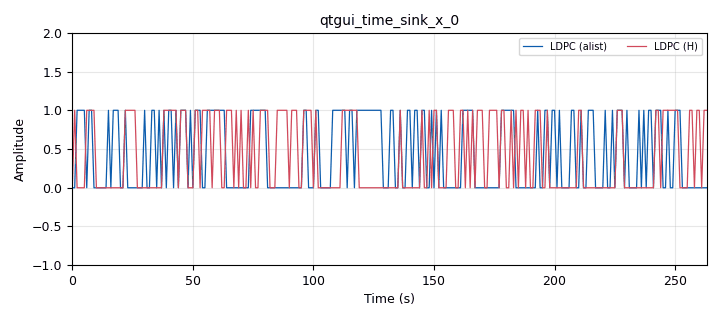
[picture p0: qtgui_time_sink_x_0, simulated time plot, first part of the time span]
options:
  parameters:
    category: Custom
    generate_options: qt_gui
    id: fecapi_async_ldpc_encoders
    output_language: python
  states: {}

blocks:
- name: H
  id: variable_ldpc_H_matrix_def
  parameters:
    filename: gr.prefix() + "/share/gnuradio/fec/ldpc/" + "n_0100_k_0042_gap_02.alist"
    gap: '2'
  states: {}
- name: MTU
  id: variable
  parameters:
    value: '1512'
  states: {}
- name: alist_file
  id: variable
  parameters:
    value: gr.prefix() + "/share/gnuradio/fec/ldpc/" + "n_0100_k_0042_gap_02.alist"
  states: {state: disabled}
- name: ldpc_enc
  id: variable_ldpc_encoder_def
  parameters:
    file: gr.prefix() + "/share/gnuradio/fec/ldpc/" + "n_0100_k_0042_gap_02.alist"
    ndim: '0'
  states: {}
- name: ldpc_enc_H
  id: variable_ldpc_encoder_H_def
  parameters:
    H: H
    ndim: '0'
  states: {}
- name: samp_rate
  id: variable
  parameters:
    value: '20000'
  states: {}
- name: analog_random_source_x_0
  id: analog_random_source_x
  parameters:
    max: '256'
    min: '0'
    num_samps: '1000'
    repeat: 'True'
    type: byte
  states: {state: disabled}
- name: blocks_char_to_float_0_1
  id: blocks_char_to_float
  parameters:
    scale: '1'
  states: {}
- name: blocks_char_to_float_0_1_0
  id: blocks_char_to_float
  parameters:
    scale: '1'
  states: {}
- name: blocks_pdu_to_tagged_stream_0
  id: blocks_pdu_to_tagged_stream
  parameters:
    tag: pkt_len
    type: byte
  states: {}
- name: blocks_pdu_to_tagged_stream_0_0
  id: blocks_pdu_to_tagged_stream
  parameters:
    tag: pkt_len
    type: byte
  states: {}
- name: blocks_repack_bits_bb_0
  id: blocks_repack_bits_bb
  parameters:
    align_output: 'True'
    endianness: gr.GR_LSB_FIRST
    k: '8'
    l: '1'
    len_tag_key: pkt_len
  states: {}
- name: blocks_repack_bits_bb_0_0
  id: blocks_repack_bits_bb
  parameters:
    align_output: 'True'
    endianness: gr.GR_LSB_FIRST
    k: '8'
    l: '1'
    len_tag_key: pkt_len
  states: {}
- name: blocks_stream_to_tagged_stream_0_0
  id: blocks_stream_to_tagged_stream
  parameters:
    len_tag_key: pkt_len
    packet_len: frame_size
    type: byte
  states: {}
- name: blocks_tagged_stream_to_pdu_0
  id: blocks_tagged_stream_to_pdu
  parameters:
    tag: pkt_len
    type: byte
  states: {}
- name: blocks_throttle_0
  id: blocks_throttle
  parameters:
    samples_per_second: samp_rate
    type: byte
  states: {}
- name: blocks_vector_source_x_0_1_0
  id: blocks_vector_source_x
  parameters:
    repeat: 'True'
    type: byte
    vector: (frame_size//15)*[0, 0, 1, 0, 3, 0, 7, 0, 15, 0, 31, 0, 63, 0, 127]
  states: {}
- name: fec_async_encoder_0
  id: fec_async_encoder
  parameters:
    encoder: ldpc_enc
    mtu: MTU
    packed: 'True'
  states: {}
- name: fec_async_encoder_0_0
  id: fec_async_encoder
  parameters:
    encoder: ldpc_enc_H
    mtu: MTU
    packed: 'True'
  states: {}
- name: frame_size
  id: parameter
  parameters:
    label: Frame Size
    type: intx
    value: '42'
  states: {}
- name: puncpat
  id: parameter
  parameters:
    value: '''11'''
  states: {}
- name: qtgui_time_sink_x_0
  id: qtgui_time_sink_x
  parameters:
    alpha2: '0.6'
    label1: LDPC (alist)
    label2: LDPC (H)
    nconnections: '2'
    size: '2048'
    srate: '1'
    tr_mode: qtgui.TRIG_MODE_TAG
    tr_tag: pkt_len
    type: float
    update_time: '0.01'
    ymax: '2'
  states: {}

connections:
- [analog_random_source_x_0, '0', blocks_throttle_0, '0']
- [blocks_char_to_float_0_1, '0', qtgui_time_sink_x_0, '0']
- [blocks_char_to_float_0_1_0, '0', qtgui_time_sink_x_0, '1']
- [blocks_pdu_to_tagged_stream_0, '0', blocks_repack_bits_bb_0, '0']
- [blocks_pdu_to_tagged_stream_0_0, '0', blocks_repack_bits_bb_0_0, '0']
- [blocks_repack_bits_bb_0, '0', blocks_char_to_float_0_1, '0']
- [blocks_repack_bits_bb_0_0, '0', blocks_char_to_float_0_1_0, '0']
- [blocks_stream_to_tagged_stream_0_0, '0', blocks_tagged_stream_to_pdu_0, '0']
- [blocks_tagged_stream_to_pdu_0, pdus, fec_async_encoder_0, in]
- [blocks_tagged_stream_to_pdu_0, pdus, fec_async_encoder_0_0, in]
- [blocks_throttle_0, '0', blocks_stream_to_tagged_stream_0_0, '0']
- [blocks_vector_source_x_0_1_0, '0', blocks_throttle_0, '0']
- [fec_async_encoder_0, out, blocks_pdu_to_tagged_stream_0, pdus]
- [fec_async_encoder_0_0, out, blocks_pdu_to_tagged_stream_0_0, pdus]

metadata:
  file_format: 1
